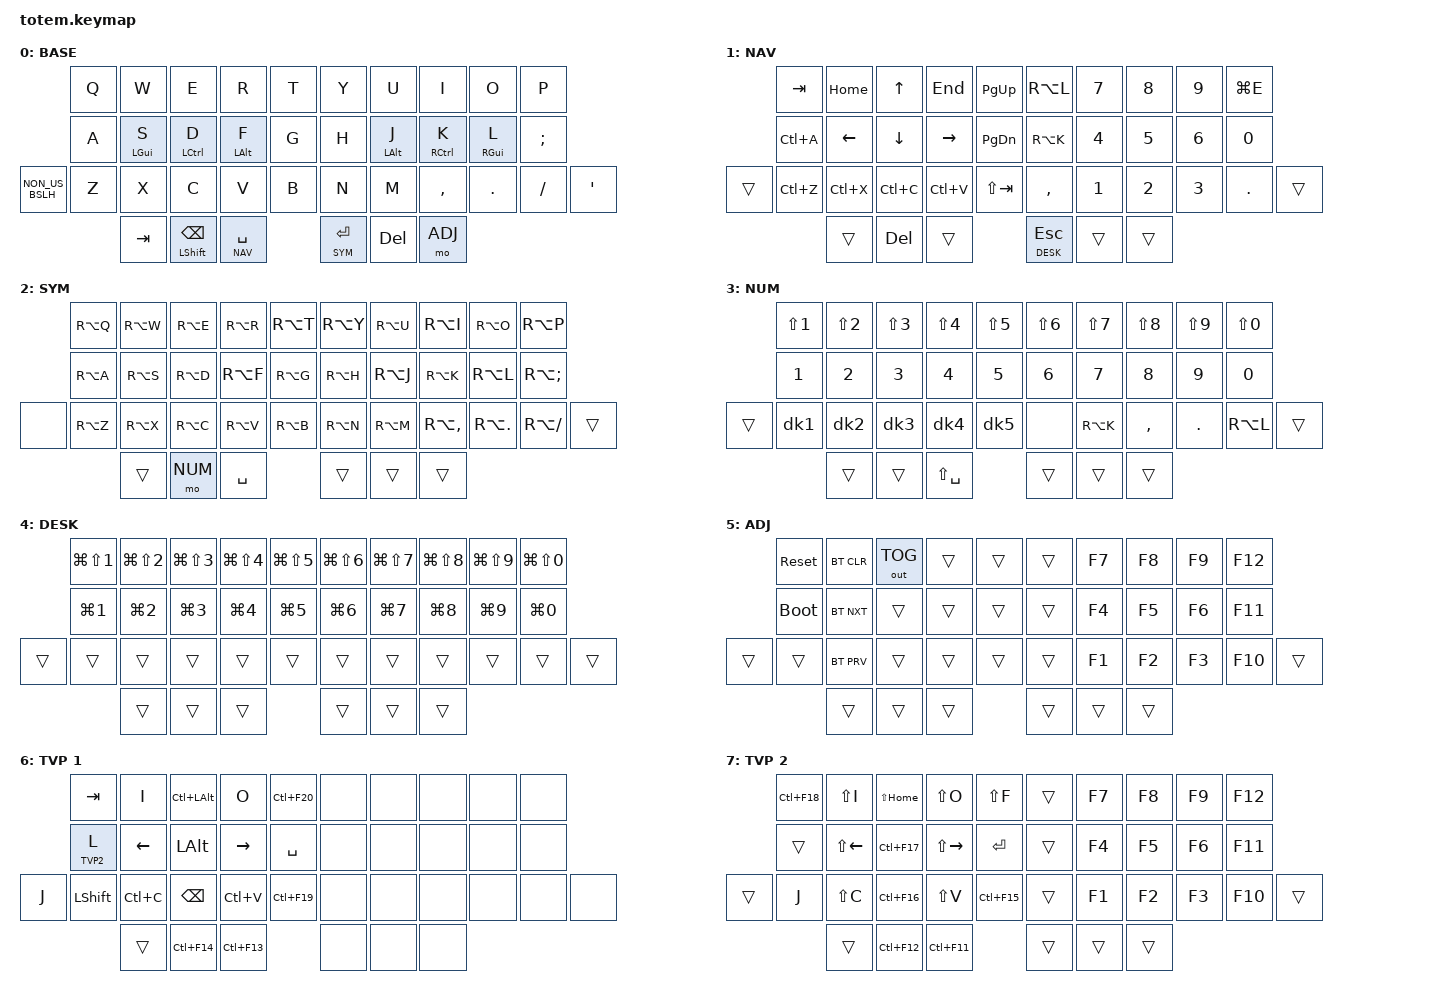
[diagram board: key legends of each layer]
/*
 * TOTEM keymap: Qwerty-Lafayette + Arsenik.
 *
 * Mirrors the laptop setup:
 *   - OS layout: Qwerty-Lafayette (xkb "custom"). The OS turns keycodes into
 *     accents: `;` is the Lafayette dead key, AltGr (RA) gives the symbols.
 *   - kanata Arsenik (~/dev/arsenik/kanata/kanata.kbd): home-row mods,
 *     thumb layer-taps, AltGr symbols layer, NumRow layer, navigation layer.
 * The Totem sends the same keycodes as kanata, so the OS layout stays required,
 * and kanata must ignore the Totem (linux-dev-names-exclude).
 *
 * Key positions:
 *        0  1  2  3  4      5  6  7  8  9
 *       10 11 12 13 14     15 16 17 18 19
 *   20  21 22 23 24 25     26 27 28 29 30  31
 *             32 33 34     35 36 37
 */

#include <behaviors.dtsi>
#include <dt-bindings/zmk/keys.h>
#include <dt-bindings/zmk/bt.h>
#include <dt-bindings/zmk/outputs.h>

#define BASE 0
#define NAV  1
#define SYM  2
#define NUM  3
#define DESK 4
#define ADJ  5
#define TVP1 6
#define TVP2 7

// Arsenik timings (kanata defvar)
#define TAP_TIMEOUT       200
#define HOLD_TIMEOUT      200
#define LONG_HOLD_TIMEOUT 300

#define DK_MACRO(name, key)                                   \
    name: name {                                              \
        compatible = "zmk,behavior-macro";                    \
        #binding-cells = <0>;                                 \
        bindings = <&macro_tap &kp SEMI &kp key>;             \
    };

/ {
    behaviors {
        // kanata `tap-hold`: hold only after the timeout (home-row mods, Space/Nav)
        hrm: home_row_mod {
            compatible = "zmk,behavior-hold-tap";
            #binding-cells = <2>;
            flavor = "tap-preferred";
            tapping-term-ms = <LONG_HOLD_TIMEOUT>;
            quick-tap-ms = <TAP_TIMEOUT>;
            bindings = <&kp>, <&kp>;
        };
        hlt: hold_layer_tap {
            compatible = "zmk,behavior-hold-tap";
            #binding-cells = <2>;
            flavor = "tap-preferred";
            tapping-term-ms = <LONG_HOLD_TIMEOUT>;
            quick-tap-ms = <TAP_TIMEOUT>;
            bindings = <&mo>, <&kp>;
        };
        // kanata `tap-hold-press`: hold as soon as another key is pressed
        // (Bspc/Shift, Enter/Sym)
        pmt: press_mod_tap {
            compatible = "zmk,behavior-hold-tap";
            #binding-cells = <2>;
            flavor = "hold-preferred";
            tapping-term-ms = <HOLD_TIMEOUT>;
            quick-tap-ms = <TAP_TIMEOUT>;
            bindings = <&kp>, <&kp>;
        };
        plt: press_layer_tap {
            compatible = "zmk,behavior-hold-tap";
            #binding-cells = <2>;
            flavor = "hold-preferred";
            tapping-term-ms = <HOLD_TIMEOUT>;
            quick-tap-ms = <TAP_TIMEOUT>;
            bindings = <&mo>, <&kp>;
        };
    };

    combos {
        compatible = "zmk,combos";
        combo_esc {
            timeout-ms = <50>;
            key-positions = <0 1>;
            bindings = <&kp ESC>;
        };
        combo_tvp {
            timeout-ms = <100>;
            key-positions = <11 12 13>;
            bindings = <&tog TVP1>;
        };
    };

    macros {
        // Lafayette dead key (`;`) + digit, as kanata @dk1..@dk5
        DK_MACRO(dk1, N1)
        DK_MACRO(dk2, N2)
        DK_MACRO(dk3, N3)
        DK_MACRO(dk4, N4)
        DK_MACRO(dk5, N5)
    };

    keymap {
        compatible = "zmk,keymap";

        // Arsenik base: Qwerty + home-row mods + thumb layer-taps
        base_layer {
            display-name = "BASE";
            bindings = <
                     &kp Q          &kp W          &kp E           &kp R          &kp T             &kp Y      &kp U          &kp I           &kp O          &kp P
                     &kp A          &hrm LGUI S    &hrm LCTRL D    &hrm LALT F    &kp G             &kp H      &hrm LALT J    &hrm RCTRL K    &hrm RGUI L    &kp SEMI
  &kp NON_US_BSLH    &kp Z          &kp X          &kp C           &kp V          &kp B             &kp N      &kp M          &kp COMMA       &kp DOT        &kp FSLH    &kp SQT
                                    &kp TAB        &pmt LSHFT BSPC &hlt NAV SPACE                   &plt SYM RET   &kp DEL    &mo ADJ
            >;
        };

        // Arsenik navigation (hold Space): ESDF-ish arrows left, numpad right
        nav_layer {
            display-name = "NAV";
            bindings = <
                     &kp TAB        &kp HOME       &kp UP          &kp END        &kp PG_UP         &kp RA(L)  &kp N7         &kp N8          &kp N9         &kp LG(E)
                     &kp LC(A)      &kp LEFT       &kp DOWN        &kp RIGHT      &kp PG_DN         &kp RA(K)  &kp N4         &kp N5          &kp N6         &kp N0
  &trans             &kp LC(Z)      &kp LC(X)      &kp LC(C)       &kp LC(V)      &kp LS(TAB)       &kp COMMA  &kp N1         &kp N2          &kp N3         &kp DOT     &trans
                                    &trans         &kp DEL         &trans                           &plt DESK ESC &trans        &trans
            >;
        };

        // Arsenik symbols (hold Enter): Lafayette AltGr layer
        sym_layer {
            display-name = "SYM";
            bindings = <
                     &kp RA(Q)      &kp RA(W)      &kp RA(E)       &kp RA(R)      &kp RA(T)         &kp RA(Y)  &kp RA(U)      &kp RA(I)       &kp RA(O)      &kp RA(P)
                     &kp RA(A)      &kp RA(S)      &kp RA(D)       &kp RA(F)      &kp RA(G)         &kp RA(H)  &kp RA(J)      &kp RA(K)       &kp RA(L)      &kp RA(SEMI)
  &none              &kp RA(Z)      &kp RA(X)      &kp RA(C)       &kp RA(V)      &kp RA(B)         &kp RA(N)  &kp RA(M)      &kp RA(COMMA)   &kp RA(DOT)    &kp RA(FSLH) &trans
                                    &trans         &mo NUM         &kp SPACE                        &trans     &trans         &trans
            >;
        };

        // Arsenik NumRow (hold Enter + Bspc)
        num_layer {
            display-name = "NUM";
            bindings = <
                     &kp LS(N1)     &kp LS(N2)     &kp LS(N3)      &kp LS(N4)     &kp LS(N5)        &kp LS(N6) &kp LS(N7)     &kp LS(N8)      &kp LS(N9)     &kp LS(N0)
                     &kp N1         &kp N2         &kp N3          &kp N4         &kp N5            &kp N6     &kp N7         &kp N8          &kp N9         &kp N0
  &trans             &dk1           &dk2           &dk3            &dk4           &dk5              &none      &kp RA(K)      &kp COMMA       &kp DOT        &kp RA(L)   &trans
                                    &trans         &trans          &kp LS(SPACE)                    &trans     &trans         &trans
            >;
        };

        // Desktops (hold Space, then hold Enter): Gui+N, Gui+Shift+N
        desk_layer {
            display-name = "DESK";
            bindings = <
                     &kp LG(LS(N1)) &kp LG(LS(N2)) &kp LG(LS(N3))  &kp LG(LS(N4)) &kp LG(LS(N5))    &kp LG(LS(N6)) &kp LG(LS(N7)) &kp LG(LS(N8)) &kp LG(LS(N9)) &kp LG(LS(N0))
                     &kp LG(N1)     &kp LG(N2)     &kp LG(N3)      &kp LG(N4)     &kp LG(N5)        &kp LG(N6)     &kp LG(N7)     &kp LG(N8)     &kp LG(N9)     &kp LG(N0)
  &trans             &trans         &trans         &trans          &trans         &trans            &trans         &trans         &trans         &trans         &trans      &trans
                                    &trans         &trans          &trans                           &trans         &trans         &trans
            >;
        };

        adjust_layer {
            display-name = "ADJ";
            bindings = <
                     &sys_reset     &bt BT_CLR     &out OUT_TOG    &trans         &trans            &trans     &kp F7         &kp F8          &kp F9         &kp F12
                     &bootloader    &bt BT_NXT     &trans          &trans         &trans            &trans     &kp F4         &kp F5          &kp F6         &kp F11
  &trans             &trans         &bt BT_PRV     &trans          &trans         &trans            &trans     &kp F1         &kp F2          &kp F3         &kp F10     &trans
                                    &trans         &trans          &trans                           &trans     &trans         &trans
            >;
        };

        tvp1_layer {
            display-name = "TVP 1";
            bindings = <
                     &kp TAB        &kp I          &kp LC(LALT)    &kp O          &kp LC(F20)       &none      &none          &none           &none          &none
                     &lt TVP2 L     &kp LEFT       &kp LALT        &kp RIGHT      &kp SPACE         &none      &none          &none           &none          &none
  &kp J              &kp LSHFT      &kp LC(C)      &kp BSPC        &kp LC(V)      &kp LC(F19)       &none      &none          &none           &none          &none       &none
                                    &trans         &kp LC(F14)     &kp LC(F13)                      &none      &none          &none
            >;
        };

        tvp2_layer {
            display-name = "TVP 2";
            bindings = <
                     &kp LC(F18)    &kp LS(I)      &kp LS(HOME)    &kp LS(O)      &kp LS(F)         &trans     &kp F7         &kp F8          &kp F9         &kp F12
                     &trans         &kp LS(LEFT)   &kp LC(F17)     &kp LS(RIGHT)  &kp RET           &trans     &kp F4         &kp F5          &kp F6         &kp F11
  &trans             &kp J          &kp LS(C)      &kp LC(F16)     &kp LS(V)      &kp LC(F15)       &trans     &kp F1         &kp F2          &kp F3         &kp F10     &trans
                                    &trans         &kp LC(F12)     &kp LC(F11)                      &trans     &trans         &trans
            >;
        };
    };
};
